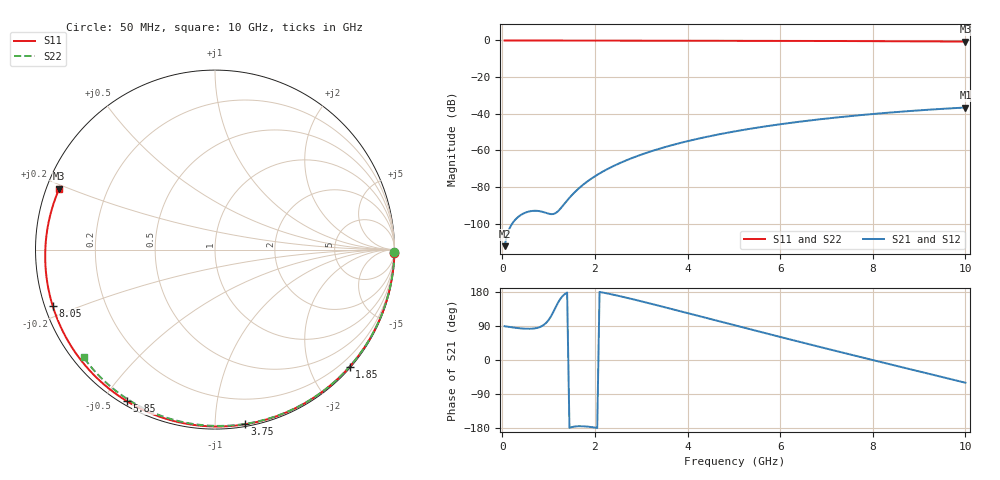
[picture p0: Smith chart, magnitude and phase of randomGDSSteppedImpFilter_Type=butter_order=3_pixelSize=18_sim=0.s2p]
! freq	dB(S11)	phase(S11)	dB(S12)	phase(S12)
!  dB(S21)	phase(S21)	dB(S22)	phase(S22)
!S-par simulation data
#  GHz  S  DB  R 50
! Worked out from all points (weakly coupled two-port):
!   200 points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, 50 MHz to 10 GHz, reference 50 ohm
!   highest |S21| = -36.63 dB at 10 GHz (marker M1); lowest = -112.3 dB at 50 MHz (marker M2)
!   lowest |S11| = -0.6 dB at 10 GHz (marker M3), VSWR 28.36, Z = 1.83 + j9.43 ohm
!   |S11| at or under -10 dB: nowhere
!   |S22| runs from -0.5 to 0.0 dB; largest |S21 - S12| = 0
!   S11 on the Smith chart (normalised r, x): 50 MHz: open; 1.85 GHz: 0.02, -2.67; 3.75 GHz: 0.01, -1.19; 5.85 GHz: 0.02, -0.58; 8.05 GHz: 0.02, -0.17; 10 GHz: 0.04, +0.19
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0.05  -0.00 -1.1  -112.32 89.1  -112.32 89.1  -0.00 -0.8
0.45  -0.01 -10.1  -94.58 82.9  -94.58 82.9  -0.01 -7.3
0.85  -0.02 -19.1  -93.44 89.2  -93.44 89.2  -0.02 -13.8
1.65  -0.05 -36.7  -80.80 -174.7  -80.80 -174.7  -0.03 -26.6
1.7  -0.05 -37.8  -79.71 -174.7  -79.71 -174.7  -0.03 -27.4
1.75  -0.05 -38.8  -78.67 -174.9  -78.67 -174.9  -0.04 -28.2
1.85  -0.05 -41.0  -76.74 -175.9  -76.74 -175.9  -0.04 -29.7
2.15  -0.06 -47.4  -71.88 178.5  -71.88 178.5  -0.04 -34.4
2.5  -0.07 -54.8  -67.40 169.5  -67.40 169.5  -0.05 -39.9
2.9  -0.08 -63.1  -63.26 157.9  -63.26 157.9  -0.06 -46.0
3.4  -0.10 -73.3  -59.06 142.6  -59.06 142.6  -0.07 -53.5
3.75  -0.11 -80.3  -56.58 131.7  -56.58 131.7  -0.08 -58.7
4.4  -0.13 -92.9  -52.70 111.1  -52.70 111.1  -0.10 -68.1
5.05  -0.16 -105.3  -49.51 90.6  -49.51 90.6  -0.12 -77.3
5.85  -0.20 -120.1  -46.29 65.5  -46.29 65.5  -0.15 -88.2
6.7  -0.26 -135.7  -43.50 39.3  -43.50 39.3  -0.19 -99.4
7.4  -0.32 -148.6  -41.58 17.9  -41.58 17.9  -0.24 -108.4
8.05  -0.38 -160.9  -40.05 -1.7  -40.05 -1.7  -0.28 -116.6
8.35  -0.41 -166.7  -39.41 -10.7  -39.41 -10.7  -0.31 -120.3
9.2  -0.51 176.2  -37.82 -36.1  -37.82 -36.1  -0.39 -130.8
9.6  -0.56 167.6  -37.19 -48.0  -37.19 -48.0  -0.43 -135.7
10  -0.61 158.6  -36.63 -60.0  -36.63 -60.0  -0.47 -140.6
